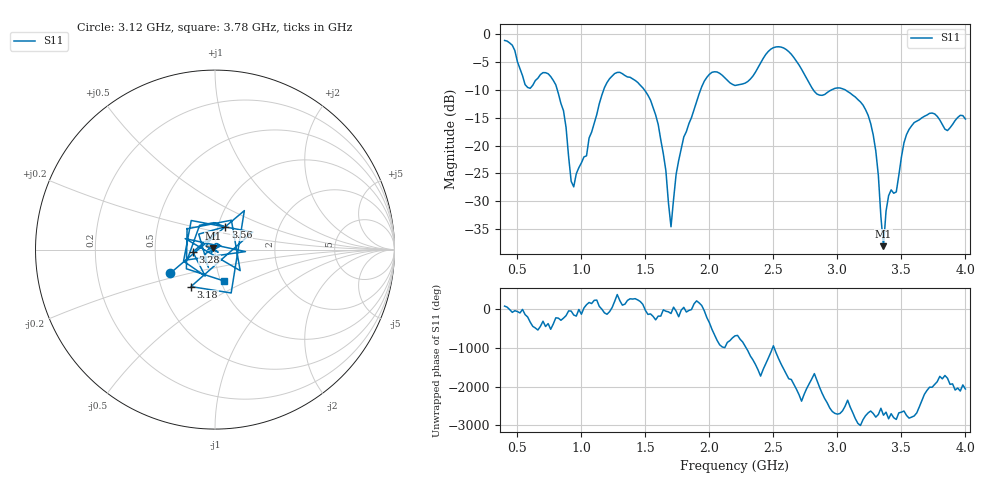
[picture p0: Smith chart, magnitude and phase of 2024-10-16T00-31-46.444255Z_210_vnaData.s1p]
! Created with skrf (http://scikit-rf.org).
# Hz S RI R 50.0
!freq ReS11 ImS11
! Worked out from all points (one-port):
!   181 points, 400 MHz to 4 GHz, reference 50 ohm
!   lowest |S11| = -38.0 dB at 3.36 GHz (marker M1), VSWR 1.03, Z = 49 + j0.783 ohm
!   |S11| at or under -10 dB: 811.2 MHz to 1.174 GHz (363.3 MHz wide, 36.6 % of centre); 1.491 GHz to 1.932 GHz (440.9 MHz wide, 25.8 % of centre); 3.058 GHz to end of sweep (the widest 3 of 4)
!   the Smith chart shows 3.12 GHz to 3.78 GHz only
!   S11 on the Smith chart (normalised r, x): 3.12 GHz: 0.58, -0.17; 3.18 GHz: 0.71, -0.31; 3.28 GHz: 0.78, -0.02; 3.56 GHz: 1.08, +0.28; 3.78 GHz: 1.04, -0.38
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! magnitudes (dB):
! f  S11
! 400 MHz  -1.2
! 560 MHz  -9.1
! 740 MHz  -7.1
! 860 MHz  -13.8
! 920 MHz  -26.4
! 940 MHz  -27.4
! 1.18 GHz  -9.6
! 1.3 GHz  -6.9
! 1.58 GHz  -14.5
! 1.66 GHz  -24.5
! 1.7 GHz  -34.6
! 1.76 GHz  -22.7
! 1.98 GHz  -7.8
! 2.2 GHz  -9.2
! 2.5 GHz  -2.5
! 2.66 GHz  -4.2
! 2.84 GHz  -10.8
! 3.1 GHz  -10.6
! 3.12 GHz  -11.0
! 3.18 GHz  -12.2
! 3.28 GHz  -18.1
! 3.32 GHz  -25.4
! 3.36 GHz  -38.0
! 3.4 GHz  -29.0
! 3.46 GHz  -28.3
! 3.56 GHz  -17.1
! 3.78 GHz  -14.8
! 4 GHz  -15.3
